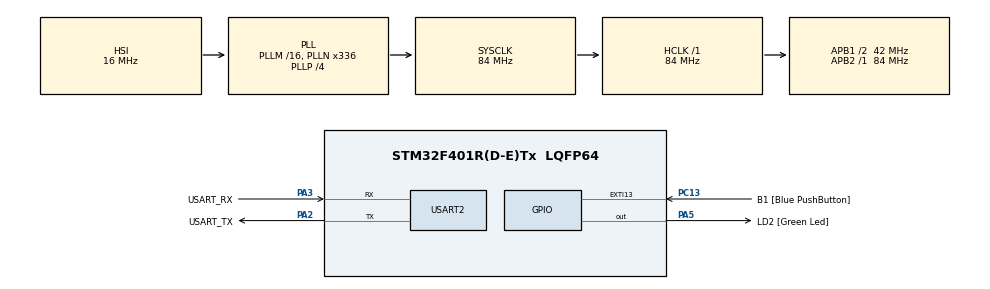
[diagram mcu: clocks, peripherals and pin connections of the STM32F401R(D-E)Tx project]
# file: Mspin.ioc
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Mcu.Family=STM32F4
Mcu.Name=STM32F401R(D-E)Tx
Mcu.Package=LQFP64
NVIC.PriorityGroup=NVIC_PRIORITYGROUP_0
NVIC.TIM2_IRQn=true\:0\:0\:false\:false\:true\:true\:true\:true
PA13.GPIO_Label=TMS
PA13.Mode=Serial_Wire
PA13.Signal=SYS_JTMS-SWDIO
PA14.GPIO_Label=TCK
PA14.Mode=Serial_Wire
PA14.Signal=SYS_JTCK-SWCLK
PA2.GPIO_Label=USART_TX
PA2.GPIO_Mode=GPIO_MODE_AF_PP
PA2.GPIO_PuPd=GPIO_NOPULL
PA2.GPIO_Speed=GPIO_SPEED_FREQ_LOW
PA2.Mode=Asynchronous
PA2.Signal=USART2_TX
PA3.GPIO_Label=USART_RX
PA3.GPIO_Mode=GPIO_MODE_AF_PP
PA3.GPIO_PuPd=GPIO_NOPULL
PA3.GPIO_Speed=GPIO_SPEED_FREQ_LOW
PA3.Mode=Asynchronous
PA3.Signal=USART2_RX
PA5.GPIO_Label=LD2 [Green Led]
PA5.GPIO_Mode=GPIO_MODE_OUTPUT_PP
PA5.GPIO_PuPd=GPIO_NOPULL
PA5.GPIO_Speed=GPIO_SPEED_FREQ_LOW
PA5.Signal=GPIO_Output
PB3.GPIO_Label=SWO
PB3.Signal=SYS_JTDO-SWO
PC13-ANTI_TAMP.GPIO_Label=B1 [Blue PushButton]
PC13-ANTI_TAMP.GPIO_ModeDefaultEXTI=GPIO_MODE_IT_FALLING
PC13-ANTI_TAMP.GPIO_PuPd=GPIO_NOPULL
PC13-ANTI_TAMP.Signal=GPXTI13
PC14-OSC32_IN.Mode=LSE-External-Oscillator
PC14-OSC32_IN.Signal=RCC_OSC32_IN
PC15-OSC32_OUT.Mode=LSE-External-Oscillator
PC15-OSC32_OUT.Signal=RCC_OSC32_OUT
PH0\ -\ OSC_IN.Mode=HSE-External-Clock-Source
PH0\ -\ OSC_IN.Signal=RCC_OSC_IN
PH1\ -\ OSC_OUT.Mode=HSE-External-Clock-Source
PH1\ -\ OSC_OUT.Signal=RCC_OSC_OUT
ProjectManager.HeapSize=0x200
ProjectManager.StackSize=0x400
ProjectManager.TargetToolchain=STM32CubeIDE
RCC.48MHZClocksFreq_Value=48000000
RCC.AHBFreq_Value=84000000
RCC.APB1CLKDivider=RCC_HCLK_DIV2
RCC.APB1Freq_Value=42000000
RCC.APB1TimFreq_Value=84000000
RCC.APB2Freq_Value=84000000
RCC.APB2TimFreq_Value=84000000
RCC.CortexFreq_Value=84000000
RCC.HCLKFreq_Value=84000000
RCC.HSE_VALUE=8000000
RCC.HSI_VALUE=16000000
RCC.PLLN=336
RCC.PLLP=RCC_PLLP_DIV4
RCC.PLLQ=7
RCC.SYSCLKFreq_VALUE=84000000
RCC.SYSCLKSource=RCC_SYSCLKSOURCE_PLLCLK
RCC.VCOOutputFreq_Value=336000000
TIM2.Period=19999
TIM2.Prescaler=83
USART2.VirtualMode=VM_ASYNC
VP_TIM2_VS_ClockSourceINT.Mode=Internal
VP_TIM2_VS_OPM.Mode=OPM_bit
board=NUCLEO-F401RE

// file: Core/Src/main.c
/* USER CODE BEGIN Header */
/**
  ******************************************************************************
  * @file           : main.c
  * @brief          : Main program body
  ******************************************************************************
  * @attention
  *
  * Copyright (c) 2025 STMicroelectronics.
  * All rights reserved.
  *
  * This software is licensed under terms that can be found in the LICENSE file
  * in the root directory of this software component.
  * If no LICENSE file comes with this software, it is provided AS-IS.
  *
  ******************************************************************************
  */
/* USER CODE END Header */
#include "main.h"

/* Calculation
 * Timer clock = SystemCoreClock = 150MHz
 * Desired interrupt period = 20ms = 0.02s
 *
 * To get 20ms:
 * prescaler of 150
 *    Timer tick = 1/(150MHz/150) = 1μs
 *
 *
 *    Counter period = 20ms/1μs = 20,000 counts
 *
 * Therefore:
 * Prescaler = 150 - 1 = 149 register value
 * Counter period = 20000 - 1 = 19999 register value
 *
 */

TIM_HandleTypeDef htim2;

UART_HandleTypeDef huart2;

/* USER CODE BEGIN PV */
volatile uint16_t dataArray[16];
volatile uint8_t arrayIndex = 0;
volatile uint8_t cycleCount = 0;
volatile uint8_t secondCounter = 0;
volatile uint8_t Finish = 0;
/* USER CODE END PV */

void SystemClock_Config(void);
static void MX_GPIO_Init(void);
static void MX_USART2_UART_Init(void);
static void MX_TIM2_Init(void);

int main(void)
{

  /* MCU Configuration--------------------------------------------------------*/

  /* Reset of all peripherals, Initializes the Flash interface and the Systick. */
  HAL_Init();

  /* Configure the system clock */
  SystemClock_Config();

  /* Initialize all configured peripherals */
  MX_GPIO_Init();
  MX_USART2_UART_Init();
  MX_TIM2_Init();
  /* USER CODE BEGIN 2 */
  HAL_TIM_Base_Start_IT(&htim2);
  /* USER CODE END 2 */

  /* Infinite loop */
  while (1)
  {

    /* USER CODE BEGIN 3 */
    if (Finish)
    {
      HAL_GPIO_TogglePin(LD2_GPIO_Port, LD2_Pin);  // Toggle LED to indicate completion
      HAL_Delay(500);
    }
  }
  /* USER CODE END 3 */
}

void SystemClock_Config(void)
{
  RCC_OscInitTypeDef RCC_OscInitStruct = {0};
  RCC_ClkInitTypeDef RCC_ClkInitStruct = {0};

  __HAL_RCC_PWR_CLK_ENABLE();
  __HAL_PWR_VOLTAGESCALING_CONFIG(PWR_REGULATOR_VOLTAGE_SCALE2);

  RCC_OscInitStruct.OscillatorType = RCC_OSCILLATORTYPE_HSI;
  RCC_OscInitStruct.HSIState = RCC_HSI_ON;
  RCC_OscInitStruct.HSICalibrationValue = RCC_HSICALIBRATION_DEFAULT;
  RCC_OscInitStruct.PLL.PLLState = RCC_PLL_ON;
  RCC_OscInitStruct.PLL.PLLSource = RCC_PLLSOURCE_HSI;
  RCC_OscInitStruct.PLL.PLLM = 16;
  RCC_OscInitStruct.PLL.PLLN = 336;
  RCC_OscInitStruct.PLL.PLLP = RCC_PLLP_DIV4;
  RCC_OscInitStruct.PLL.PLLQ = 7;
  if (HAL_RCC_OscConfig(&RCC_OscInitStruct) != HAL_OK)
  {
    Error_Handler();
  }

  /** Initializes the CPU, AHB and APB buses clocks
  */
  RCC_ClkInitStruct.ClockType = RCC_CLOCKTYPE_HCLK|RCC_CLOCKTYPE_SYSCLK
                              |RCC_CLOCKTYPE_PCLK1|RCC_CLOCKTYPE_PCLK2;
  RCC_ClkInitStruct.SYSCLKSource = RCC_SYSCLKSOURCE_PLLCLK;
  RCC_ClkInitStruct.AHBCLKDivider = RCC_SYSCLK_DIV1;
  RCC_ClkInitStruct.APB1CLKDivider = RCC_HCLK_DIV2;
  RCC_ClkInitStruct.APB2CLKDivider = RCC_HCLK_DIV1;

  if (HAL_RCC_ClockConfig(&RCC_ClkInitStruct, FLASH_LATENCY_2) != HAL_OK)
  {
    Error_Handler();
  }
}

static void MX_TIM2_Init(void)
{

  TIM_ClockConfigTypeDef sClockSourceConfig = {0};
  TIM_MasterConfigTypeDef sMasterConfig = {0};

  htim2.Instance = TIM2;

  /* Set Prescaler to 149, which will result in a 1 μs timer tick with a 150 MHz system clock */
  htim2.Init.Prescaler = 149;  // Prescaler value 149 + 1 = 150

  /* Set Period to 19999 for 20 ms timer interrupt 20000 counts */
  htim2.Init.Period = 19999;   // Period value for 20 ms interrupt

  htim2.Init.CounterMode = TIM_COUNTERMODE_UP;
  htim2.Init.ClockDivision = TIM_CLOCKDIVISION_DIV1;
  htim2.Init.AutoReloadPreload = TIM_AUTORELOAD_PRELOAD_DISABLE;

  /* Initialize the TIM2 base configuration */
  if (HAL_TIM_Base_Init(&htim2) != HAL_OK)
  {
    Error_Handler();
  }

  sClockSourceConfig.ClockSource = TIM_CLOCKSOURCE_INTERNAL;

  /* Configure the clock source for TIM2 */
  if (HAL_TIM_ConfigClockSource(&htim2, &sClockSourceConfig) != HAL_OK)
  {
    Error_Handler();
  }

  /* One Pulse Mode initialization */
  if (HAL_TIM_OnePulse_Init(&htim2, TIM_OPMODE_SINGLE) != HAL_OK)
  {
    Error_Handler();
  }

  /* Set up the master configuration */
  sMasterConfig.MasterOutputTrigger = TIM_TRGO_RESET;
  sMasterConfig.MasterSlaveMode = TIM_MASTERSLAVEMODE_DISABLE;

  /* Configure synchronization settings */
  if (HAL_TIMEx_MasterConfigSynchronization(&htim2, &sMasterConfig) != HAL_OK)
  {
    Error_Handler();
  }

}

static void MX_USART2_UART_Init(void)
{

  huart2.Instance = USART2;
  huart2.Init.BaudRate = 115200;
  huart2.Init.WordLength = UART_WORDLENGTH_8B;
  huart2.Init.StopBits = UART_STOPBITS_1;
  huart2.Init.Parity = UART_PARITY_NONE;
  huart2.Init.Mode = UART_MODE_TX_RX;
  huart2.Init.HwFlowCtl = UART_HWCONTROL_NONE;
  huart2.Init.OverSampling = UART_OVERSAMPLING_16;
  if (HAL_UART_Init(&huart2) != HAL_OK)
  {
    Error_Handler();
  }

}

static void MX_GPIO_Init(void)
{
  GPIO_InitTypeDef GPIO_InitStruct = {0};

  /* GPIO Ports Clock Enable */
  __HAL_RCC_GPIOC_CLK_ENABLE();
  __HAL_RCC_GPIOH_CLK_ENABLE();
  __HAL_RCC_GPIOA_CLK_ENABLE();
  __HAL_RCC_GPIOB_CLK_ENABLE();

  /*Configure GPIO pin Output Level */
  HAL_GPIO_WritePin(LD2_GPIO_Port, LD2_Pin, GPIO_PIN_RESET);

  /*Configure GPIO pin : B1_Pin */
  GPIO_InitStruct.Pin = B1_Pin;
  GPIO_InitStruct.Mode = GPIO_MODE_IT_FALLING;
  GPIO_InitStruct.Pull = GPIO_NOPULL;
  HAL_GPIO_Init(B1_GPIO_Port, &GPIO_InitStruct);

  /*Configure GPIO pin : LD2_Pin */
  GPIO_InitStruct.Pin = LD2_Pin;
  GPIO_InitStruct.Mode = GPIO_MODE_OUTPUT_PP;
  GPIO_InitStruct.Pull = GPIO_NOPULL;
  GPIO_InitStruct.Speed = GPIO_SPEED_FREQ_LOW;
  HAL_GPIO_Init(LD2_GPIO_Port, &GPIO_InitStruct);

}

/* USER CODE BEGIN 4 */
void HAL_TIM_PeriodElapsedCallback(TIM_HandleTypeDef *htim)
{
  if (htim == &htim2)
  {
    secondCounter++;

    if (secondCounter >= 50)  // 20ms * 50 = 1 second
    {
      secondCounter = 0;

      // Fill array element (using index as sample data)
      dataArray[arrayIndex] = arrayIndex;
      arrayIndex++;

      // Check if array is full
      if (arrayIndex >= 16)
      {
        arrayIndex = 0;  // Reset array index
        cycleCount++;    // Increment cycle counter

        // Check if we've completed three cycles
        if (cycleCount >= 3)
        {
          Finish = 1;
          HAL_TIM_Base_Stop_IT(&htim2);  // Stop timer
        }
      }
    }
  }
}
/* USER CODE END 4 */

void Error_Handler(void)
{
  __disable_irq();
  while (1)
  {
  }
}
